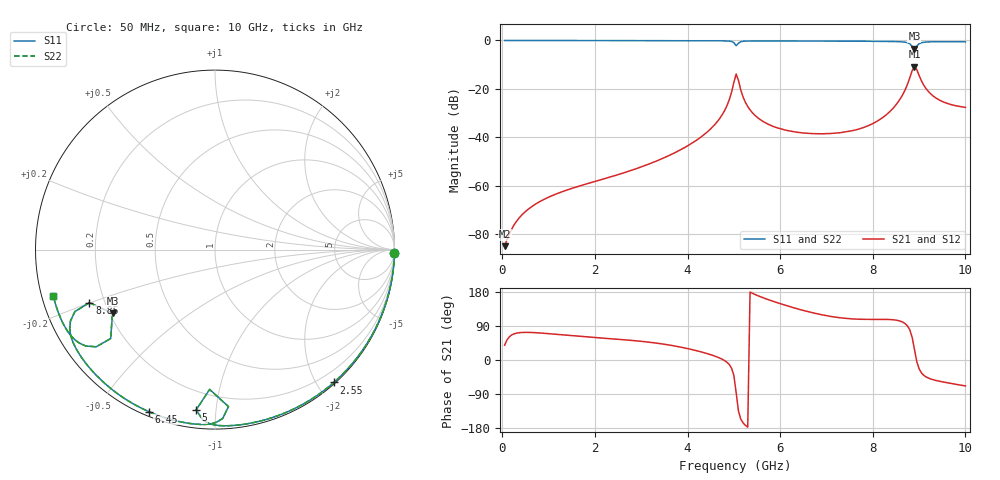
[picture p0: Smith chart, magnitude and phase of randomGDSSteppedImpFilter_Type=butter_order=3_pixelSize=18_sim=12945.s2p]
! freq	dB(S11)	phase(S11)	dB(S12)	phase(S12)
!  dB(S21)	phase(S21)	dB(S22)	phase(S22)
!S-par simulation data
#  GHz  S  DB  R 50
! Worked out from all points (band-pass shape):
!   200 points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, 50 MHz to 10 GHz, reference 50 ohm
!   highest |S21| = -10.86 dB at 8.9 GHz (marker M1); lowest = -85.1 dB at 50 MHz (marker M2)
!   |S21| within 3 dB of the highest: 8.827 GHz to 8.987 GHz (160.5 MHz wide, 1.8 % of centre)
!   lowest |S11| = -3.4 dB at 8.9 GHz (marker M3), VSWR 5.10, Z = 10.6 - j13.7 ohm
!   |S11| at or under -10 dB: nowhere
!   |S22| runs from -3.4 to 0.0 dB; largest |S21 - S12| = 0
!   S11 on the Smith chart (normalised r, x): 50 MHz: open; 2.55 GHz: 0.02, -2.24; 5 GHz: 0.09, -0.88; 6.45 GHz: 0.02, -0.67; 8.85 GHz: 0.14, -0.20; 10 GHz: 0.03, -0.14
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0.05  -0.00 -1.0  -85.09 39.0  -85.09 39.0  -0.00 -1.0
0.7  -0.02 -13.6  -67.90 72.2  -67.90 72.2  -0.02 -13.6
1.75  -0.04 -33.5  -59.72 61.6  -59.72 61.6  -0.04 -33.5
2.55  -0.06 -48.2  -55.20 54.2  -55.20 54.2  -0.06 -48.2
3.4  -0.08 -63.4  -49.30 43.3  -49.30 43.3  -0.08 -63.4
4.55  -0.13 -83.7  -35.58 12.0  -35.58 12.0  -0.13 -83.7
4.85  -0.21 -90.3  -27.04 -5.9  -27.04 -5.9  -0.21 -90.3
5  -0.92 -96.7  -17.36 -40.4  -17.36 -40.4  -0.92 -96.7
5.05  -2.16 -92.2  -13.89 -86.0  -13.89 -86.0  -2.16 -92.2
5.1  -1.13 -85.1  -16.57 -134.9  -16.57 -134.9  -1.13 -85.1
5.25  -0.26 -91.1  -25.61 -172.4  -25.61 -172.4  -0.26 -91.1
5.45  -0.19 -95.7  -30.87 173.2  -30.87 173.2  -0.19 -95.7
6.45  -0.22 -112.3  -38.17 132.5  -38.17 132.5  -0.22 -112.3
6.7  -0.23 -116.2  -38.54 124.7  -38.54 124.7  -0.23 -116.2
7.7  -0.32 -131.8  -36.64 107.6  -36.64 107.6  -0.32 -131.8
8.35  -0.41 -142.7  -29.76 107.0  -29.76 107.0  -0.41 -142.7
8.65  -0.61 -149.8  -22.28 99.8  -22.28 99.8  -0.61 -149.8
8.85  -2.39 -157.1  -12.51 60.1  -12.51 60.1  -2.38 -157.1
8.9  -3.45 -148.1  -10.86 28.0  -10.86 28.0  -3.44 -148.1
9  -1.36 -140.7  -14.47 -23.3  -14.47 -23.3  -1.36 -140.7
9.3  -0.54 -151.2  -22.92 -52.0  -22.92 -52.0  -0.54 -151.2
10  -0.57 -163.9  -27.68 -68.5  -27.68 -68.5  -0.57 -163.9
